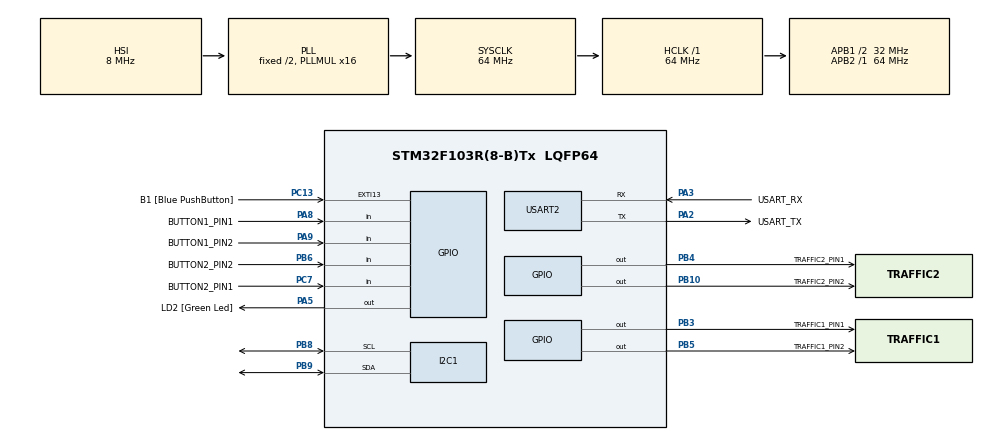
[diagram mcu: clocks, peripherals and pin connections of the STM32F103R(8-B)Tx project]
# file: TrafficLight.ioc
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Mcu.Family=STM32F1
Mcu.Name=STM32F103R(8-B)Tx
Mcu.Package=LQFP64
NVIC.EXTI15_10_IRQn=true\:0\:0\:false\:false\:true\:true\:true
NVIC.PriorityGroup=NVIC_PRIORITYGROUP_4
NVIC.TIM2_IRQn=true\:0\:0\:false\:false\:true\:true\:true
PA13.GPIO_Label=TMS
PA13.Mode=Serial_Wire
PA13.Signal=SYS_JTMS-SWDIO
PA14.GPIO_Label=TCK
PA14.Mode=Serial_Wire
PA14.Signal=SYS_JTCK-SWCLK
PA2.GPIO_Label=USART_TX
PA2.GPIO_Mode=GPIO_MODE_AF_PP
PA2.GPIO_PuPd=GPIO_NOPULL
PA2.GPIO_Speed=GPIO_SPEED_FREQ_LOW
PA2.Mode=Asynchronous
PA2.Signal=USART2_TX
PA3.GPIO_Label=USART_RX
PA3.GPIO_Mode=GPIO_MODE_AF_PP
PA3.GPIO_PuPd=GPIO_NOPULL
PA3.GPIO_Speed=GPIO_SPEED_FREQ_LOW
PA3.Mode=Asynchronous
PA3.Signal=USART2_RX
PA5.GPIO_Label=LD2 [Green Led]
PA5.GPIO_ModeDefaultOutputPP=GPIO_MODE_OUTPUT_PP
PA5.GPIO_PuPd=GPIO_NOPULL
PA5.GPIO_Speed=GPIO_SPEED_FREQ_LOW
PA5.Signal=GPIO_Output
PA8.GPIO_Label=BUTTON1_PIN1
PA8.Signal=GPIO_Input
PA9.GPIO_Label=BUTTON1_PIN2
PA9.Signal=GPIO_Input
PB10.GPIO_Label=TRAFFIC2_PIN2
PB10.Signal=GPIO_Output
PB3.GPIO_Label=TRAFFIC1_PIN1
PB3.Signal=GPIO_Output
PB4.GPIO_Label=TRAFFIC2_PIN1
PB4.Signal=GPIO_Output
PB5.GPIO_Label=TRAFFIC1_PIN2
PB5.Signal=GPIO_Output
PB6.GPIO_Label=BUTTON2_PIN2
PB6.Signal=GPIO_Input
PB8.Mode=I2C
PB8.Signal=I2C1_SCL
PB9.Mode=I2C
PB9.Signal=I2C1_SDA
PC13-TAMPER-RTC.GPIO_Label=B1 [Blue PushButton]
PC13-TAMPER-RTC.GPIO_PuPd=GPIO_NOPULL
PC13-TAMPER-RTC.Signal=GPXTI13
PC14-OSC32_IN.Mode=LSE-External-Oscillator
PC14-OSC32_IN.Signal=RCC_OSC32_IN
PC15-OSC32_OUT.Mode=LSE-External-Oscillator
PC15-OSC32_OUT.Signal=RCC_OSC32_OUT
PC7.GPIO_Label=BUTTON2_PIN1
PC7.Signal=GPIO_Input
PD0-OSC_IN.Mode=HSE-External-Clock-Source
PD0-OSC_IN.Signal=RCC_OSC_IN
PD1-OSC_OUT.Mode=HSE-External-Clock-Source
PD1-OSC_OUT.Signal=RCC_OSC_OUT
ProjectManager.HeapSize=0x200
ProjectManager.StackSize=0x400
ProjectManager.TargetToolchain=STM32CubeIDE
RCC.AHBFreq_Value=64000000
RCC.APB1CLKDivider=RCC_HCLK_DIV2
RCC.APB1Freq_Value=32000000
RCC.APB1TimFreq_Value=64000000
RCC.APB2Freq_Value=64000000
RCC.APB2TimFreq_Value=64000000
RCC.HCLKFreq_Value=64000000
RCC.PLLMUL=RCC_PLL_MUL16
RCC.RTCClockSelection=RCC_RTCCLKSOURCE_LSE
RCC.SYSCLKFreq_VALUE=64000000
RCC.SYSCLKSource=RCC_SYSCLKSOURCE_PLLCLK
RCC.USBFreq_Value=64000000
TIM2.Period=99
TIM2.Prescaler=6399
USART2.VirtualMode=VM_ASYNC
VP_TIM2_VS_ClockSourceINT.Mode=Internal
board=NUCLEO-F103RB

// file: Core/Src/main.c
/* USER CODE BEGIN Header */
/**
  ******************************************************************************
  * @file           : main.c
  * @brief          : Main program body
  ******************************************************************************
  * @attention
  *
  * <h2><center>&copy; Copyright (c) 2026 STMicroelectronics.
  * All rights reserved.</center></h2>
  *
  * This software component is licensed by ST under BSD 3-Clause license,
  * the "License"; You may not use this file except in compliance with the
  * License. You may obtain a copy of the License at:
  *                        opensource.org/licenses/BSD-3-Clause
  *
  ******************************************************************************
  */
/* USER CODE END Header */
#include "main.h"

/* USER CODE BEGIN Includes */
#include "scheduler.h"
#include "button.h"
#include "traffic_light.h"
/* USER CODE END Includes */

I2C_HandleTypeDef hi2c1;

TIM_HandleTypeDef htim2;

UART_HandleTypeDef huart2;

void SystemClock_Config(void);
static void MX_GPIO_Init(void);
static void MX_USART2_UART_Init(void);
static void MX_I2C1_Init(void);
static void MX_TIM2_Init(void);

/* USER CODE BEGIN 0 */
void Task_BlinkLED(void) {
    HAL_GPIO_TogglePin(LD2_GPIO_Port, LD2_Pin);
}

void Task_Traffic_Auto(void) {
    static int sec = 0;

    if (sec < 3) {
        set_Traffic_1_Red();
        set_Traffic_2_Green();
    } else if (sec < 5) {
        set_Traffic_1_Red();
        set_Traffic_2_Yellow();
    } else if (sec < 8) {
        set_Traffic_1_Green();
        set_Traffic_2_Red();
    } else {
        set_Traffic_1_Yellow();
        set_Traffic_2_Red();
    }

    sec++;
    if (sec >= 10) {
        sec = 0;
    }
}
/* USER CODE END 0 */

int main(void)
{

  /* MCU Configuration--------------------------------------------------------*/

  /* Reset of all peripherals, Initializes the Flash interface and the Systick. */
  HAL_Init();

  /* Configure the system clock */
  SystemClock_Config();

  /* Initialize all configured peripherals */
  MX_GPIO_Init();
  MX_USART2_UART_Init();
  MX_I2C1_Init();
  MX_TIM2_Init();
  /* USER CODE BEGIN 2 */

  SCH_Init();

  SCH_Add_Task(Task_BlinkLED, 0, 100);
  SCH_Add_Task(button_reading, 0, 1);
  SCH_Add_Task(Task_Traffic_Auto, 0, 100);

  HAL_TIM_Base_Start_IT(&htim2);

  /* USER CODE END 2 */

  /* Infinite loop */
  while (1)
  {

    /* USER CODE BEGIN 3 */
    SCH_Dispatch_Tasks();
  }
  /* USER CODE END 3 */
}

void SystemClock_Config(void)
{
  RCC_OscInitTypeDef RCC_OscInitStruct = {0};
  RCC_ClkInitTypeDef RCC_ClkInitStruct = {0};

  /** Initializes the RCC Oscillators according to the specified parameters
  * in the RCC_OscInitTypeDef structure.
  */
  RCC_OscInitStruct.OscillatorType = RCC_OSCILLATORTYPE_HSI;
  RCC_OscInitStruct.HSIState = RCC_HSI_ON;
  RCC_OscInitStruct.HSICalibrationValue = RCC_HSICALIBRATION_DEFAULT;
  RCC_OscInitStruct.PLL.PLLState = RCC_PLL_ON;
  RCC_OscInitStruct.PLL.PLLSource = RCC_PLLSOURCE_HSI_DIV2;
  RCC_OscInitStruct.PLL.PLLMUL = RCC_PLL_MUL16;
  if (HAL_RCC_OscConfig(&RCC_OscInitStruct) != HAL_OK)
  {
    Error_Handler();
  }
  /** Initializes the CPU, AHB and APB buses clocks
  */
  RCC_ClkInitStruct.ClockType = RCC_CLOCKTYPE_HCLK|RCC_CLOCKTYPE_SYSCLK
                              |RCC_CLOCKTYPE_PCLK1|RCC_CLOCKTYPE_PCLK2;
  RCC_ClkInitStruct.SYSCLKSource = RCC_SYSCLKSOURCE_PLLCLK;
  RCC_ClkInitStruct.AHBCLKDivider = RCC_SYSCLK_DIV1;
  RCC_ClkInitStruct.APB1CLKDivider = RCC_HCLK_DIV2;
  RCC_ClkInitStruct.APB2CLKDivider = RCC_HCLK_DIV1;

  if (HAL_RCC_ClockConfig(&RCC_ClkInitStruct, FLASH_LATENCY_2) != HAL_OK)
  {
    Error_Handler();
  }
}

static void MX_I2C1_Init(void)
{

  hi2c1.Instance = I2C1;
  hi2c1.Init.ClockSpeed = 100000;
  hi2c1.Init.DutyCycle = I2C_DUTYCYCLE_2;
  hi2c1.Init.OwnAddress1 = 0;
  hi2c1.Init.AddressingMode = I2C_ADDRESSINGMODE_7BIT;
  hi2c1.Init.DualAddressMode = I2C_DUALADDRESS_DISABLE;
  hi2c1.Init.OwnAddress2 = 0;
  hi2c1.Init.GeneralCallMode = I2C_GENERALCALL_DISABLE;
  hi2c1.Init.NoStretchMode = I2C_NOSTRETCH_DISABLE;
  if (HAL_I2C_Init(&hi2c1) != HAL_OK)
  {
    Error_Handler();
  }

}

static void MX_TIM2_Init(void)
{

  TIM_ClockConfigTypeDef sClockSourceConfig = {0};
  TIM_MasterConfigTypeDef sMasterConfig = {0};

  htim2.Instance = TIM2;
  htim2.Init.Prescaler = 6399;
  htim2.Init.CounterMode = TIM_COUNTERMODE_UP;
  htim2.Init.Period = 99;
  htim2.Init.ClockDivision = TIM_CLOCKDIVISION_DIV1;
  htim2.Init.AutoReloadPreload = TIM_AUTORELOAD_PRELOAD_DISABLE;
  if (HAL_TIM_Base_Init(&htim2) != HAL_OK)
  {
    Error_Handler();
  }
  sClockSourceConfig.ClockSource = TIM_CLOCKSOURCE_INTERNAL;
  if (HAL_TIM_ConfigClockSource(&htim2, &sClockSourceConfig) != HAL_OK)
  {
    Error_Handler();
  }
  sMasterConfig.MasterOutputTrigger = TIM_TRGO_RESET;
  sMasterConfig.MasterSlaveMode = TIM_MASTERSLAVEMODE_DISABLE;
  if (HAL_TIMEx_MasterConfigSynchronization(&htim2, &sMasterConfig) != HAL_OK)
  {
    Error_Handler();
  }

}

static void MX_USART2_UART_Init(void)
{

  huart2.Instance = USART2;
  huart2.Init.BaudRate = 115200;
  huart2.Init.WordLength = UART_WORDLENGTH_8B;
  huart2.Init.StopBits = UART_STOPBITS_1;
  huart2.Init.Parity = UART_PARITY_NONE;
  huart2.Init.Mode = UART_MODE_TX_RX;
  huart2.Init.HwFlowCtl = UART_HWCONTROL_NONE;
  huart2.Init.OverSampling = UART_OVERSAMPLING_16;
  if (HAL_UART_Init(&huart2) != HAL_OK)
  {
    Error_Handler();
  }

}

static void MX_GPIO_Init(void)
{
  GPIO_InitTypeDef GPIO_InitStruct = {0};

  /* GPIO Ports Clock Enable */
  __HAL_RCC_GPIOC_CLK_ENABLE();
  __HAL_RCC_GPIOD_CLK_ENABLE();
  __HAL_RCC_GPIOA_CLK_ENABLE();
  __HAL_RCC_GPIOB_CLK_ENABLE();

  /*Configure GPIO pin Output Level */
  HAL_GPIO_WritePin(LD2_GPIO_Port, LD2_Pin, GPIO_PIN_RESET);

  /*Configure GPIO pin Output Level */
  HAL_GPIO_WritePin(GPIOB, TRAFFIC2_PIN2_Pin|TRAFFIC1_PIN1_Pin|TRAFFIC2_PIN1_Pin|TRAFFIC1_PIN2_Pin, GPIO_PIN_RESET);

  /*Configure GPIO pin : B1_Pin */
  GPIO_InitStruct.Pin = B1_Pin;
  GPIO_InitStruct.Mode = GPIO_MODE_IT_RISING;
  GPIO_InitStruct.Pull = GPIO_NOPULL;
  HAL_GPIO_Init(B1_GPIO_Port, &GPIO_InitStruct);

  /*Configure GPIO pin : LD2_Pin */
  GPIO_InitStruct.Pin = LD2_Pin;
  GPIO_InitStruct.Mode = GPIO_MODE_OUTPUT_PP;
  GPIO_InitStruct.Pull = GPIO_NOPULL;
  GPIO_InitStruct.Speed = GPIO_SPEED_FREQ_LOW;
  HAL_GPIO_Init(LD2_GPIO_Port, &GPIO_InitStruct);

  /*Configure GPIO pins : TRAFFIC2_PIN2_Pin TRAFFIC1_PIN1_Pin TRAFFIC2_PIN1_Pin TRAFFIC1_PIN2_Pin */
  GPIO_InitStruct.Pin = TRAFFIC2_PIN2_Pin|TRAFFIC1_PIN1_Pin|TRAFFIC2_PIN1_Pin|TRAFFIC1_PIN2_Pin;
  GPIO_InitStruct.Mode = GPIO_MODE_OUTPUT_PP;
  GPIO_InitStruct.Pull = GPIO_NOPULL;
  GPIO_InitStruct.Speed = GPIO_SPEED_FREQ_LOW;
  HAL_GPIO_Init(GPIOB, &GPIO_InitStruct);

  /*Configure GPIO pin : BUTTON2_PIN1_Pin */
  GPIO_InitStruct.Pin = BUTTON2_PIN1_Pin;
  GPIO_InitStruct.Mode = GPIO_MODE_INPUT;
  GPIO_InitStruct.Pull = GPIO_NOPULL;
  HAL_GPIO_Init(BUTTON2_PIN1_GPIO_Port, &GPIO_InitStruct);

  /*Configure GPIO pins : BUTTON1_PIN1_Pin BUTTON1_PIN2_Pin */
  GPIO_InitStruct.Pin = BUTTON1_PIN1_Pin|BUTTON1_PIN2_Pin;
  GPIO_InitStruct.Mode = GPIO_MODE_INPUT;
  GPIO_InitStruct.Pull = GPIO_NOPULL;
  HAL_GPIO_Init(GPIOA, &GPIO_InitStruct);

  /*Configure GPIO pin : BUTTON2_PIN2_Pin */
  GPIO_InitStruct.Pin = BUTTON2_PIN2_Pin;
  GPIO_InitStruct.Mode = GPIO_MODE_INPUT;
  GPIO_InitStruct.Pull = GPIO_NOPULL;
  HAL_GPIO_Init(BUTTON2_PIN2_GPIO_Port, &GPIO_InitStruct);

  /* EXTI interrupt init*/
  HAL_NVIC_SetPriority(EXTI15_10_IRQn, 0, 0);
  HAL_NVIC_EnableIRQ(EXTI15_10_IRQn);

}

/* USER CODE BEGIN 4 */
void HAL_TIM_PeriodElapsedCallback(TIM_HandleTypeDef *htim)
{
    if (htim->Instance == TIM2)
    {
        SCH_Update();
    }
}
/* USER CODE END 4 */

void Error_Handler(void)
{
  __disable_irq();
  while (1)
  {
  }
}

/************************ (C) COPYRIGHT STMicroelectronics *****END OF FILE****/
